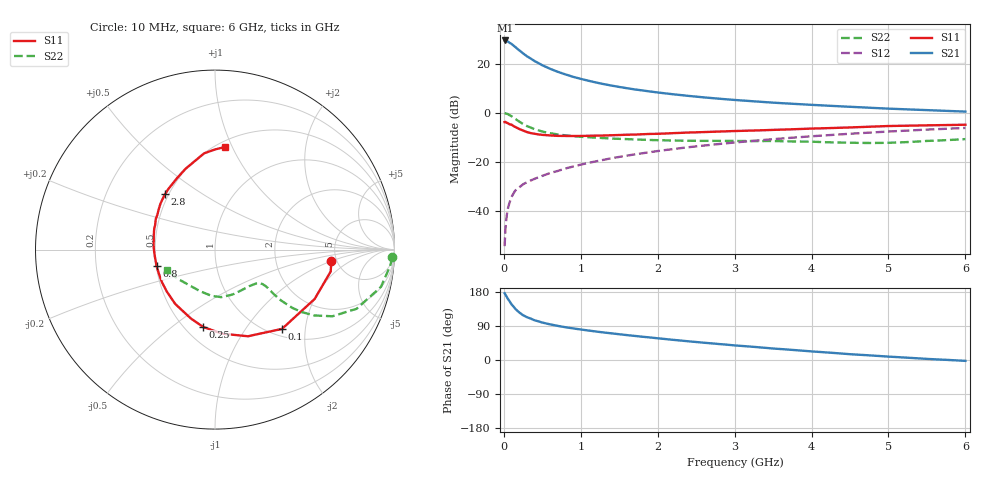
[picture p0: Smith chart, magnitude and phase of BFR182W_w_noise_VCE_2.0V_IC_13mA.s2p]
! (c) 2017  Infineon Technologies AG, Munich
! Infineon Technologies  Discrete & RF Semiconductors
! BFR182W
! VCE =  2.0 V,  IC =  13 mA
! Common Emitter S-Parameters:  Jan 2017
# GHz  S  MA  R  50
!  f  S11  S21  S12  S22
! GHz  MAG  ANG  MAG  ANG  MAG  ANG  MAG  ANG
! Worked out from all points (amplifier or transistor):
!   77 points, 10 MHz to 6 GHz, reference 50 ohm
!   highest |S21| = 29.6 dB at 20 MHz (marker M1)
!   |S21| within 3 dB of that: start of sweep to 161.4 MHz
!   unconditionally stable (mu >= 1): 884.3 MHz to 2.597 GHz
!   at 130 MHz: K = 0.34, MSG = 30.0 dB, |S12| = -32.7 dB
!   at 2.2 GHz: K = 1.02, MAG = 10.3 dB, |S12| = -14.8 dB
!   at 6 GHz: K = 0.88, MSG = 3.3 dB, |S12| = -6.1 dB
!   lowest NFmin = 1.17 dB at 450 MHz
!   S11 on the Smith chart (normalised r, x): 10 MHz: 4.51, -0.98; 100 MHz: 1.13, -1.50; 250 MHz: 0.61, -0.65; 800 MHz: 0.50, -0.10; 2.8 GHz: 0.48, +0.36; 6 GHz: 0.55, +0.93
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0.01  0.6512 -5.5  30.04 176.2  0.0019 84.2  0.9892 -2.5
0.02  0.6561 -10.7  30.14 172.8  0.0041 92.4  0.9801 -5.3
0.05  0.6198 -26.3  28.84 162.1  0.0107 79.8  0.948 -12.6
0.1  0.5784 -49.8  25.67 146.7  0.0191 71.1  0.8552 -22.7
0.15  0.5166 -69.2  22.1 134.7  0.0261 65.4  0.7521 -29.6
0.2  0.4699 -85.2  18.96 125.5  0.0301 62.8  0.665 -33.5
0.25  0.4362 -98.7  16.45 118.2  0.0349 59.9  0.5949 -35.8
0.3  0.4063 -109.4  14.35 112.9  0.0383 60.3  0.5388 -37.0
0.4  0.3752 -126.2  11.43 104.7  0.0451 60.5  0.4641 -37.6
0.5  0.3561 -138.9  9.391 98.8  0.0518 61.6  0.4164 -37.2
0.6  0.3467 -149.0  7.98 94.1  0.0591 62.8  0.3854 -36.6
0.7  0.3398 -157.4  6.912 90.1  0.0652 64.4  0.3635 -36.0
0.8  0.3384 -164.2  6.109 86.5  0.0732 65.7  0.3479 -35.8
0.9  0.3368 -170.5  5.455 83.4  0.0803 65.9  0.3357 -35.9
1.1  0.3407 179.6  4.531 77.8  0.0954 66.7  0.3189 -36.5
1.5  0.3536 164.0  3.387 68.0  0.1262 66.4  0.2952 -40.1
2.1  0.3796 146.9  2.505 55.3  0.1744 64.1  0.275 -50.8
2.8  0.4163 131.7  1.948 42.1  0.2318 59.8  0.2686 -67.0
3.1  0.4302 125.5  1.791 37.0  0.2567 57.5  0.2667 -73.7
4.1  0.483 108.8  1.434 21.3  0.3414 48.9  0.2548 -97.1
5.1  0.5429 95.1  1.205 7.8  0.4241 39.4  0.2483 -130.7
6  0.5733 84.7  1.063 -2.3  0.4932 30.2  0.2917 -157.3
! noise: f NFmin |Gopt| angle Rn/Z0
0.45  1.17  0.04  108  0.14
0.9  1.26  0.05  122  0.14
1.9  1.73  0.23  -151  0.14
2.4  2  0.22  -136  0.21
